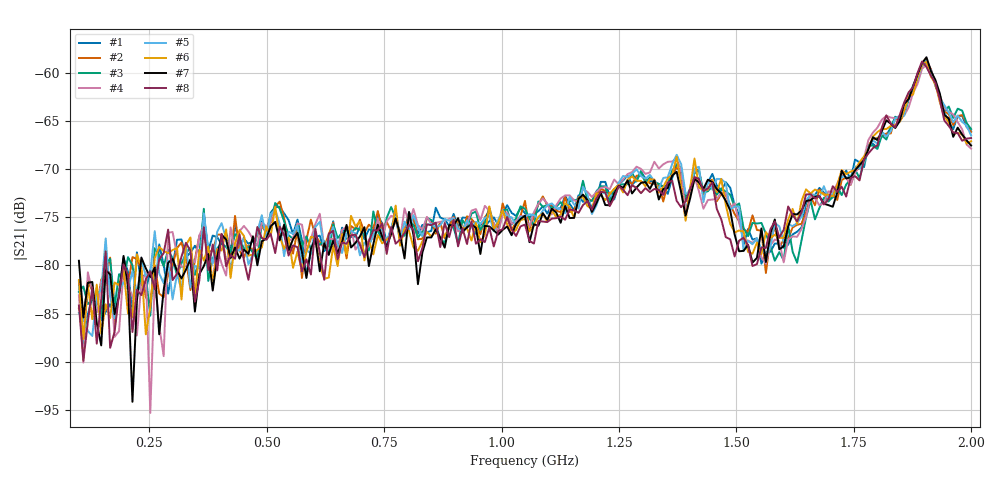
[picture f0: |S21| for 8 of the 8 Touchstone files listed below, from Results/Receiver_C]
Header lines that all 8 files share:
!Keysight Technologies,N5242B,MY48420967,A.15.65.19
!Correction: S11(C  1-Port  )
!S21(Off)
!S12(Off)
!S22(Off)
!S2P File: Measurements: S11, S21, S12, S22:
# Hz S  dB  R 50
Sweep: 100 MHz to 2 GHz
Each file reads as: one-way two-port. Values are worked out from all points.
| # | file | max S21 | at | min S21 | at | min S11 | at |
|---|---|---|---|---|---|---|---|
| 1 | S-ParamMeas20k_Receiver_C.s2p | -59.01 dB | 1.905 GHz | -88.4 dB | 109.5 MHz | -3.8 dB | 2 GHz |
| 2 | S-ParamMeas25k_Receiver_C.s2p | -58.67 dB | 1.905 GHz | -86.4 dB | 176 MHz | -3.7 dB | 2 GHz |
| 3 | S-ParamMeas30k_Receiver_C.s2p | -58.72 dB | 1.905 GHz | -85.2 dB | 147.5 MHz | -3.7 dB | 2 GHz |
| 4 | S-ParamMeas77k_Receiver_C.s2p | -59.14 dB | 1.905 GHz | -95.3 dB | 252 MHz | -3.9 dB | 2 GHz |
| 5 | S-ParamMeas100k_Receiver_C.s2p | -58.74 dB | 1.905 GHz | -87.3 dB | 128.5 MHz | -4.0 dB | 2 GHz |
| 6 | S-ParamMeas200k_Receiver_C.s2p | -58.83 dB | 1.905 GHz | -87.6 dB | 109.5 MHz | -4.5 dB | 1.924 GHz |
| 7 | S-ParamMeas250k_Receiver_C.s2p | -58.39 dB | 1.905 GHz | -94.2 dB | 214 MHz | -4.8 dB | 1.915 GHz |
| 8 | S-ParamMeas290k_Receiver_C.s2p | -58.83 dB | 1.895 GHz | -89.9 dB | 109.5 MHz | -5.1 dB | 1.915 GHz |
